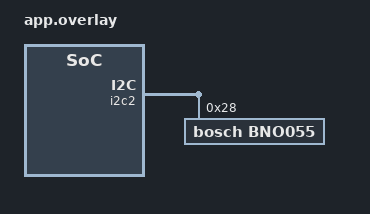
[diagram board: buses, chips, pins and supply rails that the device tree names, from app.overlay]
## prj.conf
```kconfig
# Copyright (c) 2021 Nordic Semiconductor ASA
# SPDX-License-Identifier: Apache-2.0
#
# This file contains selected Kconfig options for the application.

CONFIG_SENSOR=y
CONFIG_BLINK=y

# Networking configuration
CONFIG_NETWORKING=y
CONFIG_NET_L2_ETHERNET=y

# Ethernet driver
CONFIG_ETH_DRIVER=y
CONFIG_ETH_KSZ8851SNL=y

# SPI support
CONFIG_SPI=y

# GPIO support (usually enabled by default)
CONFIG_GPIO=y

# Network protocols
CONFIG_NET_IPV4=y
CONFIG_NET_IPV6=y

# DHCP client
CONFIG_NET_DHCPV4=y

# DNS resolver
CONFIG_NET_DNS_RESOLVER=y

# Network buffers
CONFIG_NET_BUF=y
CONFIG_NET_PKT_RX_COUNT=10
CONFIG_NET_PKT_TX_COUNT=10
CONFIG_NET_BUF_RX_COUNT=20
CONFIG_NET_BUF_TX_COUNT=20

# Network shell (optional - useful for debugging)
CONFIG_NET_SHELL=y
CONFIG_SHELL=y

# Logging configuration
CONFIG_LOG=y
CONFIG_ETHERNET_LOG_LEVEL_DBG=y
CONFIG_NET_LOG=y

# Habilita i2c
CONFIG_I2C=y

# Habilita o bno055
CONFIG_BNO055=y
```

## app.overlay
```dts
// Este 'i2c2' refere-se ao SERCOM2 do SAM D21
&i2c2 {
    /* O status 'okay' confirma que esse barramento será usado */
    status = "okay";

    /* declarando o sensor */
    bno055@28 {
        compatible = "bosch,bno055";
        reg = <0x28>;    /* Endereço I2C do sensor */
        label = "BNO055";
    };
};
```

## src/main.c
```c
#include <zephyr/kernel.h>
#include <zephyr/device.h>
#include <zephyr/drivers/adc.h>
#include <zephyr/drivers/gpio.h>
#include <zephyr/logging/log.h>

LOG_MODULE_REGISTER(sensor_lux, LOG_LEVEL_INF);

// ---------------- ADC CONFIG ----------------
#define ADC_NODE DT_PATH(zephyr_user, sensor_luminosidade)
#define ADC_CHANNEL 1
#define ADC_RESOLUTION 12

#define ADC_GAIN ADC_GAIN_1
#define ADC_REFERENCE ADC_REF_INTERNAL
#define ADC_ACQUISITION_TIME ADC_ACQ_TIME_DEFAULT

static const struct device *adc_dev;
static int16_t sample_buf;

// ---------------- LED CONFIG ----------------
#define LED_NODE DT_ALIAS(led0)
static const struct device *led_dev;

// ---------------- SENSING CONFIG ----------------
#define AVG_WINDOW 10
static uint16_t adc_window[AVG_WINDOW];
static uint8_t index_avg = 0;
static uint32_t avg_sum = 0;

// *** Calibração ***
#define R_REF 10000       // resistor fixo (em ohms)
#define MAX_ADC 4095.0
#define VCC 3.3

// Intervalo ajustável
static uint32_t read_period_ms = 500;

// ------------- Funções auxiliares -------------

float adc_to_voltage(int raw) {
    return (raw / MAX_ADC) * VCC;
}

float ldr_to_lux(float voltage) {
    if (voltage <= 0.05) return 0.1;
    float r_ldr = (R_REF * (VCC - voltage)) / voltage;
    return 500 * (10000.0 / r_ldr);
}

uint16_t avg_filter(uint16_t value) {
    avg_sum -= adc_window[index_avg];
    adc_window[index_avg] = value;
    avg_sum += value;

    index_avg = (index_avg + 1) % AVG_WINDOW;
    return avg_sum / AVG_WINDOW;
}

// -------- INITIALIZATION --------

void init_adc(void) {
    adc_dev = DEVICE_DT_GET(ADC_NODE);
    if (!device_is_ready(adc_dev)) {
        LOG_ERR("ADC não disponível");
        return;
    }

    struct adc_channel_cfg cfg = {
        .gain = ADC_GAIN,
        .reference = ADC_REFERENCE,
        .acquisition_time = ADC_ACQUISITION_TIME,
        .channel_id = ADC_CHANNEL,
        .differential = false,
    };

    if (adc_channel_setup(adc_dev, &cfg) != 0) {
        LOG_ERR("Erro ADC setup");
    }
}

int read_adc_raw(void) {
    struct adc_sequence seq = {
        .channels = BIT(ADC_CHANNEL),
        .buffer = &sample_buf,
        .buffer_size = sizeof(sample_buf),
        .resolution = ADC_RESOLUTION,
    };
    adc_read(adc_dev, &seq);
    return sample_buf;
}

// -------- LED --------

void led_update(float lux) {
    gpio_pin_set(led_dev, 0, lux < 100 ? 1 : 0);
}

// -------- MAIN --------

int main() {
    LOG_INF("=== Sensor de Luminosidade Avançado ===");

    init_adc();

    led_dev = DEVICE_DT_GET(LED_NODE);
    gpio_pin_configure(led_dev, 0, GPIO_OUTPUT_INACTIVE);

    while (1) {
        int raw = read_adc_raw();
        uint16_t smooth = avg_filter(raw);

        float v = adc_to_voltage(smooth);
        float lux = ldr_to_lux(v);

        LOG_INF("[ADC=%d] Voltage=%.3fV | Luminosidade aprox=%.1f lux", smooth, v, lux);

        led_update(lux);

        k_sleep(K_MSEC(read_period_ms));
    }
}
```
